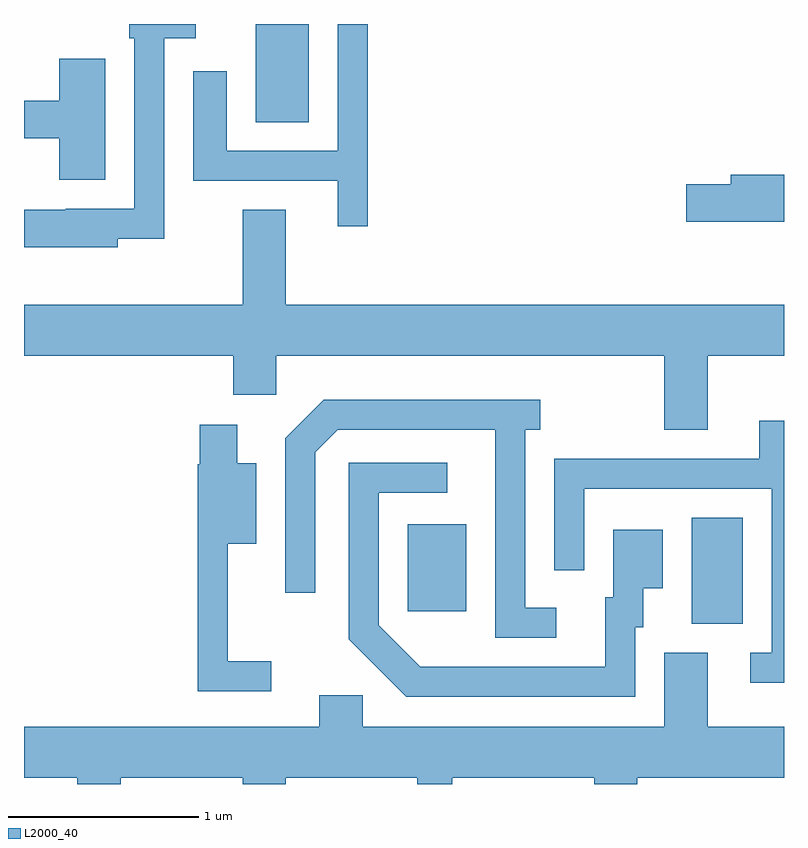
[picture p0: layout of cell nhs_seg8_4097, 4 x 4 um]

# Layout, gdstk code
import gdstk
lib = gdstk.Library(unit=1e-6, precision=1e-09)
def R(c, l, rs):  # rectangles x0, y0, x1, y1
    for r in rs: c.add(gdstk.rectangle(r[:2], r[2:], *l))
def P(c, l, *ps):  # polygons
    for p in ps: c.add(gdstk.Polygon(p, *l))
L2000_40 = (2000, 40)

nhs_seg8_4097 = lib.new_cell('nhs_seg8_4097')
R(nhs_seg8_4097, L2000_40, [(311.126,1877.186,311.394,1877.744), (309.631,1877.251,309.939,1877.709), (308.831,1879.826,309.109,1880.342)])
P(nhs_seg8_4097, L2000_40, [(308.104,1879.211),(308.349,1879.211),(308.349,1880.266),(308.514,1880.266),(308.514,1880.342),(308.166,1880.342),(308.166,1880.266),(308.191,1880.266),(308.191,1879.369),(307.83,1879.369),(307.83,1879.364),(307.611,1879.364),(307.611,1879.166),(308.104,1879.166)],
  [(309.419,1880.342),(309.261,1880.342),(309.261,1879.674),(308.679,1879.674),(308.679,1880.094),(308.501,1880.094),(308.501,1879.516),(309.261,1879.516),(309.261,1879.278),(309.419,1879.278)],
  [(308.039,1880.159),(307.796,1880.159),(307.796,1879.939),(307.611,1879.939),(307.611,1879.741),(307.796,1879.741),(307.796,1879.521),(308.039,1879.521)],
  [(311.611,1879.549),(311.331,1879.549),(311.331,1879.499),(311.096,1879.499),(311.096,1879.301),(311.611,1879.301)],
  [(311.209,1878.596),(311.611,1878.596),(311.611,1878.864),(308.989,1878.864),(308.989,1879.364),(308.761,1879.364),(308.761,1878.864),(307.611,1878.864),(307.611,1878.596),(308.711,1878.596),(308.711,1878.391),(308.939,1878.391),(308.939,1878.596),(310.981,1878.596),(310.981,1878.206),(311.209,1878.206)],
  [(310.413,1877.269),(310.249,1877.269),(310.249,1878.206),(310.328,1878.206),(310.328,1878.364),(309.189,1878.364),(308.986,1878.162),(308.986,1877.348),(309.144,1877.348),(309.144,1878.089),(309.262,1878.206),(310.091,1878.206),(310.091,1877.111),(310.413,1877.111)],
  [(311.611,1878.254),(311.481,1878.254),(311.481,1878.054),(310.401,1878.054),(310.401,1877.468),(310.559,1877.468),(310.559,1877.896),(311.546,1877.896),(311.546,1877.034),(311.433,1877.034),(311.433,1876.876),(311.611,1876.876)],
  [(308.913,1876.989),(308.684,1876.989),(308.684,1877.606),(308.834,1877.606),(308.834,1878.029),(308.734,1878.029),(308.734,1878.234),(308.536,1878.234),(308.536,1878.025),(308.526,1878.025),(308.526,1876.831),(308.913,1876.831)],
  [(310.829,1877.166),(310.869,1877.166),(310.869,1877.371),(310.974,1877.371),(310.974,1877.679),(310.711,1877.679),(310.711,1877.324),(310.671,1877.324),(310.671,1876.959),(309.697,1876.959),(309.479,1877.177),(309.479,1877.876),(309.838,1877.876),(309.838,1878.034),(309.321,1878.034),(309.321,1877.104),(309.624,1876.801),(310.829,1876.801)],
  [(308.119,1876.376),(308.761,1876.376),(308.761,1876.342),(308.989,1876.342),(308.989,1876.376),(309.681,1876.376),(309.681,1876.342),(309.864,1876.342),(309.864,1876.376),(310.611,1876.376),(310.611,1876.342),(310.839,1876.342),(310.839,1876.376),(311.611,1876.376),(311.611,1876.644),(311.209,1876.644),(311.209,1877.034),(310.981,1877.034),(310.981,1876.644),(309.394,1876.644),(309.394,1876.809),(309.166,1876.809),(309.166,1876.644),(307.611,1876.644),(307.611,1876.376),(307.891,1876.376),(307.891,1876.342),(308.119,1876.342)])

lib.write_gds('nhs_seg8_4097.gds')
